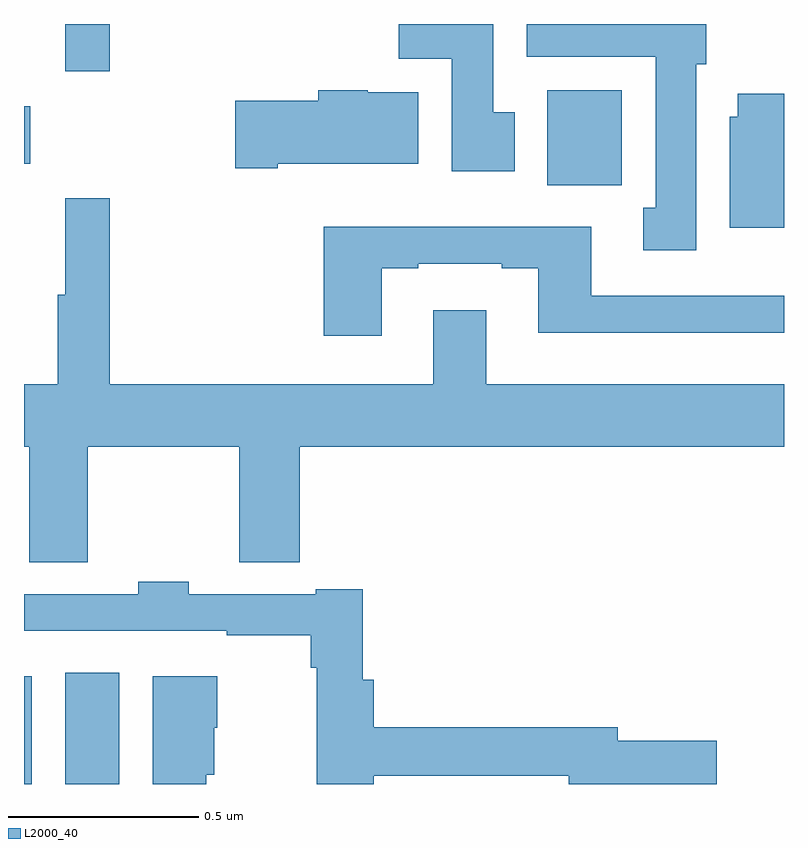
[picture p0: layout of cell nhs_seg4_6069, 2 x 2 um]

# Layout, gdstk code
import gdstk
lib = gdstk.Library(unit=1e-6, precision=1e-09)
def R(c, l, rs):  # rectangles x0, y0, x1, y1
    for r in rs: c.add(gdstk.rectangle(r[:2], r[2:], *l))
def P(c, l, *ps):  # polygons
    for p in ps: c.add(gdstk.Polygon(p, *l))
L2000_40 = (2000, 40)

nhs_seg4_6069 = lib.new_cell('nhs_seg4_6069')
R(nhs_seg4_6069, L2000_40, [(185,827.9,185.02,828.184), (185.108,827.9,185.251,828.193), (186.377,829.476,186.573,829.726), (185,829.532,185.017,829.684), (185.108,829.776,185.225,829.9)])
P(nhs_seg4_6069, L2000_40, [(186.769,829.794),(186.796,829.794),(186.796,829.9),(186.323,829.9),(186.323,829.814),(186.662,829.814),(186.662,829.417),(186.629,829.417),(186.629,829.305),(186.769,829.305)],
  [(186.292,829.668),(186.235,829.668),(186.235,829.9),(185.986,829.9),(185.986,829.808),(186.125,829.808),(186.125,829.512),(186.292,829.512)],
  [(185.668,829.532),(186.037,829.532),(186.037,829.72),(185.904,829.72),(185.904,829.726),(185.774,829.726),(185.774,829.698),(185.556,829.698),(185.556,829.52),(185.668,829.52)],
  [(187,829.717),(186.878,829.717),(186.878,829.656),(186.857,829.656),(186.857,829.364),(187,829.364)],
  [(185.168,828.788),(185.566,828.788),(185.566,828.484),(185.726,828.484),(185.726,828.788),(187,828.788),(187,828.952),(186.217,828.952),(186.217,829.147),(186.077,829.147),(186.077,828.952),(185.225,828.952),(185.225,829.441),(185.108,829.441),(185.108,829.188),(185.089,829.188),(185.089,828.952),(185,828.952),(185,828.788),(185.014,828.788),(185.014,828.484),(185.168,828.484)],
  [(185.941,829.257),(186.037,829.257),(186.037,829.269),(186.257,829.269),(186.257,829.257),(186.353,829.257),(186.353,829.088),(187,829.088),(187,829.185),(186.493,829.185),(186.493,829.366),(185.789,829.366),(185.789,829.08),(185.941,829.08)],
  [(185.921,827.922),(186.434,827.922),(186.434,827.9),(186.823,827.9),(186.823,828.014),(186.562,828.014),(186.562,828.05),(185.921,828.05),(185.921,828.175),(185.891,828.175),(185.891,828.412),(185.768,828.412),(185.768,828.399),(185.433,828.399),(185.433,828.432),(185.301,828.432),(185.301,828.399),(185,828.399),(185,828.303),(185.533,828.303),(185.533,828.291),(185.755,828.291),(185.755,828.206),(185.77,828.206),(185.77,827.9),(185.921,827.9)],
  [(185.479,827.925),(185.5,827.925),(185.5,828.048),(185.509,828.048),(185.509,828.184),(185.339,828.184),(185.339,827.9),(185.479,827.9)])

lib.write_gds('nhs_seg4_6069.gds')
